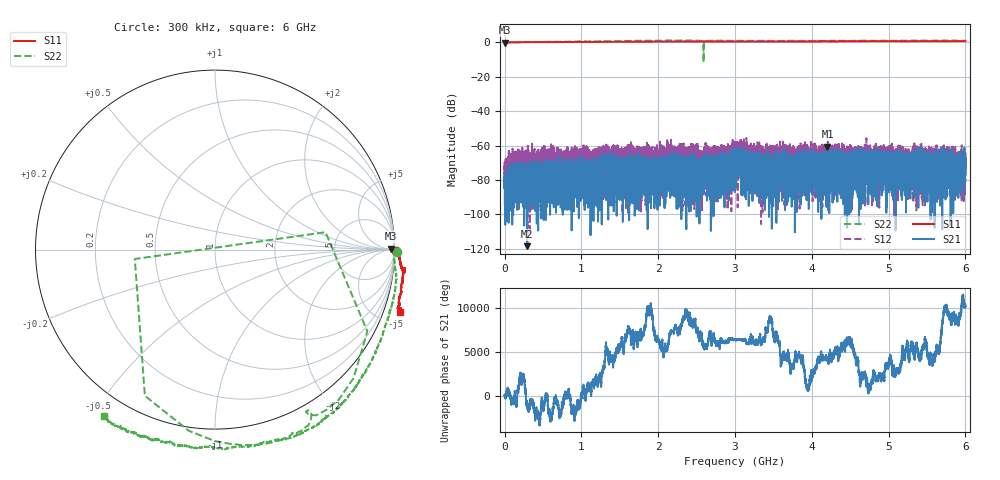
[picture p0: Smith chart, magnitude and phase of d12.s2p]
!Agilent Technologies,N5230C,SG49000117,A.08.50.07
!Agilent N5230C: A.08.50.07
!Date: Friday, May 17, 2024 03:33:40
!Correction: S11(Full 2 Port(1,2))
!S21(Full 2 Port(1,2))
!S12(Full 2 Port(1,2))
!S22(Full 2 Port(1,2))
!S2P File: Measurements: S11, S21, S12, S22:
# Hz S  MA  R 50
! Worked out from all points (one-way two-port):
!   20001 points, 300 kHz to 6 GHz, reference 50 ohm
!   highest |S21| = -60.70 dB at 4.204 GHz (marker M1); lowest = -118.5 dB at 293.7 MHz (marker M2)
!   lowest |S11| = -0.2 dB at 600 kHz (marker M3), VSWR 112.45, Z = 5.01e+03 + j1.75e+03 ohm
!   |S11| at or under -10 dB: nowhere
!   |S22| runs from -11.6 to 1.1 dB; largest |S21 - S12| = 0.0016
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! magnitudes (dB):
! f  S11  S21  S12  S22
! 300 kHz  0.1  -84.6  -76.2  0.1
! 600 kHz  -0.2  -83.9  -69.9  -0.3
! 80.4 MHz  0.0  -78.9  -73.2  0.0
! 293.7 MHz  0.1  -118.5  -85.4  0.2
! 1 GHz  0.3  -80.0  -63.8  0.5
! 2 GHz  0.5  -76.3  -71.9  1.0
! 2.149 GHz  0.5  -77.5  -62.6  1.1
! 2.293 GHz  0.5  -80.9  -79.9  1.1
! 2.53 GHz  0.5  -74.7  -73.0  1.0
! 2.885 GHz  0.5  -68.9  -64.1  0.9
! 3 GHz  0.5  -78.9  -64.5  0.9
! 3.486 GHz  0.5  -72.9  -67.5  0.9
! 3.605 GHz  0.5  -73.1  -66.0  0.9
! 4 GHz  0.5  -72.4  -77.1  0.9
! 4.204 GHz  0.6  -60.7  -61.8  0.9
! 4.421 GHz  0.6  -68.9  -66.9  0.9
! 4.6 GHz  0.6  -75.6  -63.5  1.0
! 5 GHz  0.7  -64.4  -60.4  1.0
! 5.225 GHz  0.7  -67.4  -68.6  1.0
! 5.335 GHz  0.7  -73.2  -70.5  1.0
! 5.953 GHz  0.7  -76.8  -68.0  1.0
! 6 GHz  0.7  -70.4  -63.8  0.9
